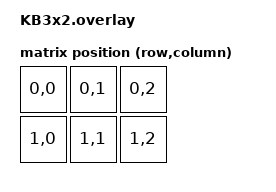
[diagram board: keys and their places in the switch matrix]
#include <dt-bindings/zmk/matrix_transform.h>

 / {
    chosen {
        zmk,kscan = &kscan0;
        zmk,matrix-transform = &transform0;
    };

    kscan0: kscan {
        compatible = "zmk,kscan-gpio-matrix";
        label = "kscan0";
        diode-direction = "col2row";   // 1 = COL2ROW, 0 = ROW2COL

        row-gpios = <&pro_micro 6 (GPIO_ACTIVE_HIGH | GPIO_PULL_DOWN)>,
                    <&pro_micro 5 (GPIO_ACTIVE_HIGH | GPIO_PULL_DOWN)>,

        col-gpios = <&pro_micro 7 GPIO_ACTIVE_HIGH>,
                    <&pro_micro 8 GPIO_ACTIVE_HIGH>,
                    <&pro_micro 9 GPIO_ACTIVE_HIGH>,
    };

    transform0: matrix_transform {
        compatible = "zmk,matrix-transform";
        rows = <2>;
        columns = <3>;

        map = <
            RC(0,0)  RC(0,1)  RC(0,2)
            RC(1,0)  RC(1,1)  RC(1,2)
        >;
    };
};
